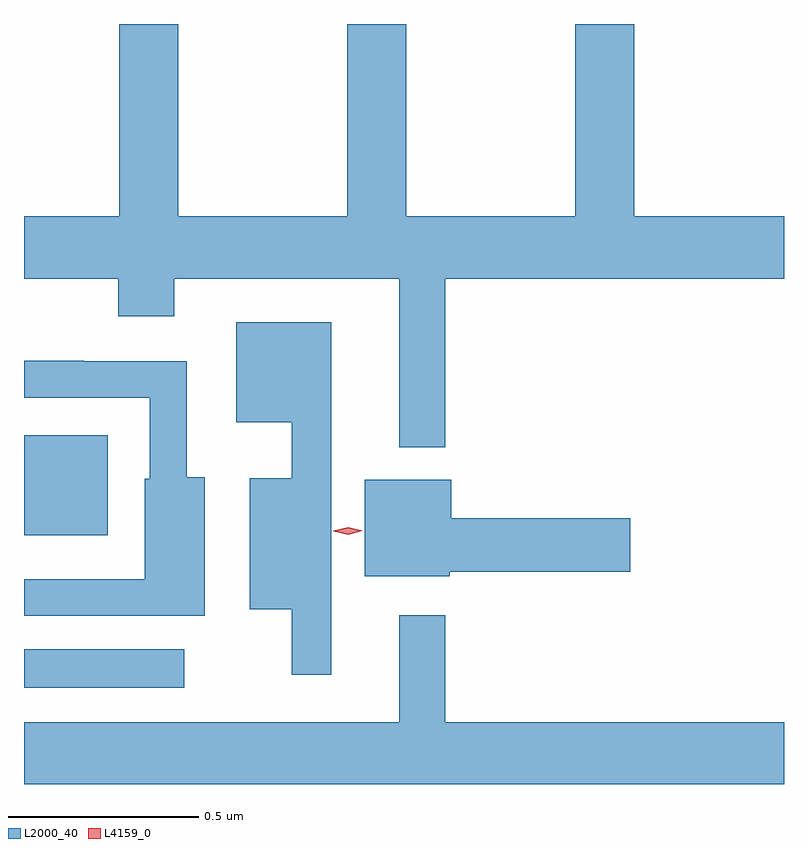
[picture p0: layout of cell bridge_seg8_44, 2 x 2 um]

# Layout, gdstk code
import gdstk
lib = gdstk.Library(unit=1e-6, precision=1e-09)
def R(c, l, rs):  # rectangles x0, y0, x1, y1
    for r in rs: c.add(gdstk.rectangle(r[:2], r[2:], *l))
def P(c, l, *ps):  # polygons
    for p in ps: c.add(gdstk.Polygon(p, *l))
L2000_40 = (2000, 40)
L4159_0 = (4159, 0)

bridge_seg8_44 = lib.new_cell('bridge_seg8_44')
R(bridge_seg8_44, L2000_40, [(885.416,1099.439,885.838,1099.54), (885.416,1099.841,885.637,1100.104)])
P(bridge_seg8_44, L2000_40, [(886.525,1100.516),(887.416,1100.516),(887.416,1100.68),(887.022,1100.68),(887.022,1101.186),(886.867,1101.186),(886.867,1100.68),(886.422,1100.68),(886.422,1101.186),(886.267,1101.186),(886.267,1100.68),(885.822,1100.68),(885.822,1101.186),(885.667,1101.186),(885.667,1100.68),(885.416,1100.68),(885.416,1100.516),(885.664,1100.516),(885.664,1100.417),(885.811,1100.417),(885.811,1100.516),(886.403,1100.516),(886.403,1100.072),(886.525,1100.072)],
  [(886.225,1100.401),(885.974,1100.401),(885.974,1100.138),(886.121,1100.138),(886.121,1099.99),(886.01,1099.99),(886.01,1099.646),(886.121,1099.646),(886.121,1099.473),(886.225,1099.473)],
  [(885.892,1099.993),(885.844,1099.993),(885.844,1100.298),(885.575,1100.298),(885.575,1100.3),(885.416,1100.3),(885.416,1100.202),(885.747,1100.202),(885.747,1099.989),(885.734,1099.989),(885.734,1099.725),(885.416,1099.725),(885.416,1099.629),(885.892,1099.629)],
  [(886.536,1099.744),(887.011,1099.744),(887.011,1099.886),(886.54,1099.886),(886.54,1099.987),(886.313,1099.987),(886.313,1099.733),(886.536,1099.733)],
  [(887.416,1099.348),(886.525,1099.348),(886.525,1099.63),(886.403,1099.63),(886.403,1099.348),(885.416,1099.348),(885.416,1099.186),(887.416,1099.186)])
P(bridge_seg8_44, L4159_0, [(886.269,1099.842),(886.23,1099.851),(886.23,1099.852),(886.23,1099.852),(886.269,1099.862),(886.307,1099.852),(886.308,1099.852),(886.307,1099.852)])

lib.write_gds('bridge_seg8_44.gds')
